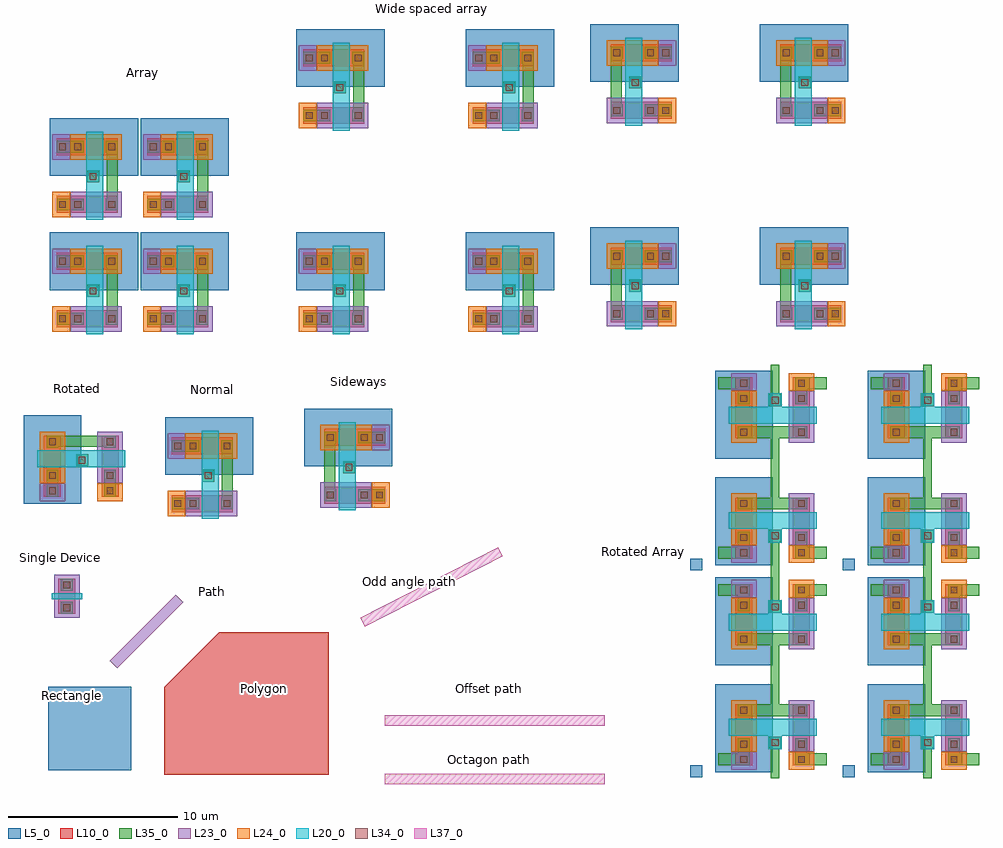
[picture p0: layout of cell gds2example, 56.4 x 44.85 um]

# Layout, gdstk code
from math import pi, radians
import gdstk
lib = gdstk.Library(unit=1e-6, precision=1e-09)
def R(c, l, rs):  # rectangles x0, y0, x1, y1
    for r in rs: c.add(gdstk.rectangle(r[:2], r[2:], *l))
def P(c, l, *ps):  # polygons
    for p in ps: c.add(gdstk.Polygon(p, *l))
L5_0 = (5, 0)
L10_0 = (10, 0)
L20_0 = (20, 0)
L23_0 = (23, 0)
L24_0 = (24, 0)
L34_0 = (34, 0)
L35_0 = (35, 0)
L37_0 = (37, 0)

inv = lib.new_cell('inv')
R(inv, L5_0, [(0,2.9,5.2,6.3), (0,2.9,5.2,6.3)])
R(inv, L10_0, [(1.1,0.7,1.3,1.7), (1.65,0.7,2.2,1.7), (3.1,0.7,3.65,1.7), (1.1,4.1,1.3,5.1), (1.65,4.1,2.2,5.1), (3.1,4.1,3.65,5.1)])
R(inv, L20_0, [(2.15,2.1,3.15,3.7), (2.15,2.45,2.95,3.25)])
R(inv, L23_0, [(1.2,0.45,4.25,1.95), (0.15,3.85,1.2,5.35)])
R(inv, L24_0, [(0.15,0.45,1.2,1.95), (1.2,3.85,4.25,5.35)])
R(inv, L34_0, [(0.55,1,0.95,1.4), (1.45,1,1.85,1.4), (3.45,1,3.85,1.4), (2.35,2.65,2.75,3.05), (0.55,4.4,0.95,4.8), (1.45,4.4,1.85,4.8), (3.45,4.4,3.85,4.8)])
R(inv, L35_0, [(1.1,0.85,1.3,1.55), (2.2,2.5,2.9,3.2), (1.1,4.25,1.3,4.95)])
P(inv, L35_0, [(4,4.95),(3.3,4.95),(3.3,4.25),(3.35,4.25),(3.35,1.55),(3.3,1.55),(3.3,0.85),(4,0.85)])
inv.add(gdstk.FlexPath([(2.65,1.7),(2.65,0.7)], 1, ends="flush", simple_path=True, layer=10, datatype=0))  # L10_0
inv.add(gdstk.FlexPath([(1.65,1.7),(1.65,0.7)], 0.7, ends="flush", simple_path=True, layer=10, datatype=0))  # L10_0
inv.add(gdstk.FlexPath([(3.65,1.7),(3.65,0.7)], 0.7, ends="flush", simple_path=True, layer=10, datatype=0))  # L10_0
inv.add(gdstk.FlexPath([(0.75,1.7),(0.75,0.7)], 0.7, ends="flush", simple_path=True, layer=10, datatype=0))  # L10_0
inv.add(gdstk.FlexPath([(2.65,5.1),(2.65,4.1)], 1, ends="flush", simple_path=True, layer=10, datatype=0))  # L10_0
inv.add(gdstk.FlexPath([(1.65,5.1),(1.65,4.1)], 0.7, ends="flush", simple_path=True, layer=10, datatype=0))  # L10_0
inv.add(gdstk.FlexPath([(3.65,5.1),(3.65,4.1)], 0.7, ends="flush", simple_path=True, layer=10, datatype=0))  # L10_0
inv.add(gdstk.FlexPath([(0.75,5.1),(0.75,4.1)], 0.7, ends="flush", simple_path=True, layer=10, datatype=0))  # L10_0
inv.add(gdstk.FlexPath([(2.65,1.7),(2.65,0.7)], 1, ends="flush", simple_path=True, layer=20, datatype=0))  # L20_0
inv.add(gdstk.FlexPath([(2.65,2.1),(2.65,1.7)], 1, ends="flush", simple_path=True, layer=20, datatype=0))  # L20_0
inv.add(gdstk.FlexPath([(2.65,0.7),(2.65,0.3)], 1, ends="flush", simple_path=True, layer=20, datatype=0))  # L20_0
inv.add(gdstk.FlexPath([(2.65,5.1),(2.65,4.1)], 1, ends="flush", simple_path=True, layer=20, datatype=0))  # L20_0
inv.add(gdstk.FlexPath([(2.65,5.5),(2.65,5.1)], 1, ends="flush", simple_path=True, layer=20, datatype=0))  # L20_0
inv.add(gdstk.FlexPath([(2.65,4.1),(2.65,3.7)], 1, ends="flush", simple_path=True, layer=20, datatype=0))  # L20_0
inv.add(gdstk.FlexPath([(1.65,1.55),(1.65,0.85)], 0.7, ends="flush", simple_path=True, layer=35, datatype=0))  # L35_0
inv.add(gdstk.FlexPath([(3.65,1.55),(3.65,0.85)], 0.7, ends="flush", simple_path=True, layer=35, datatype=0))  # L35_0
inv.add(gdstk.FlexPath([(0.75,1.55),(0.75,0.85)], 0.7, ends="flush", simple_path=True, layer=35, datatype=0))  # L35_0
inv.add(gdstk.FlexPath([(1.65,4.95),(1.65,4.25)], 0.7, ends="flush", simple_path=True, layer=35, datatype=0))  # L35_0
inv.add(gdstk.FlexPath([(3.65,4.95),(3.65,4.25)], 0.7, ends="flush", simple_path=True, layer=35, datatype=0))  # L35_0
inv.add(gdstk.FlexPath([(0.75,4.95),(0.75,4.25)], 0.7, ends="flush", simple_path=True, layer=35, datatype=0))  # L35_0

big_inverter = lib.new_cell('big_inverter')
R(big_inverter, L5_0, [(0.35,3.2,5.55,6.6), (0.35,3.2,5.55,6.6)])
R(big_inverter, L10_0, [(1.45,1,1.65,2), (2,1,2.55,2), (3.45,1,4,2), (1.45,4.4,1.65,5.4), (2,4.4,2.55,5.4), (3.45,4.4,4,5.4)])
R(big_inverter, L20_0, [(2.5,2.4,3.5,4), (1.7,2.65,2.5,3.45)])
R(big_inverter, L23_0, [(1.55,0.75,4.6,2.25), (0.5,4.15,1.55,5.65)])
R(big_inverter, L24_0, [(0.5,0.75,1.55,2.25), (1.55,4.15,4.6,5.65)])
R(big_inverter, L34_0, [(0.9,1.3,1.3,1.7), (1.8,1.3,2.2,1.7), (3.8,1.3,4.2,1.7), (1.9,2.85,2.3,3.25), (0.9,4.7,1.3,5.1), (1.8,4.7,2.2,5.1), (3.8,4.7,4.2,5.1)])
R(big_inverter, L35_0, [(0.75,0,1.45,1.15), (1.45,1.15,1.65,1.85), (3.65,1.15,4.35,4.55), (1.75,2.7,2.45,3.4), (0,2.8,1.75,3.3), (4.35,2.8,6.1,3.3), (0.75,4.55,1.45,6.4), (1.45,4.55,1.65,5.25)])
big_inverter.add(gdstk.FlexPath([(3,2),(3,1)], 1, ends="flush", simple_path=True, layer=10, datatype=0))  # L10_0
big_inverter.add(gdstk.FlexPath([(2,2),(2,1)], 0.7, ends="flush", simple_path=True, layer=10, datatype=0))  # L10_0
big_inverter.add(gdstk.FlexPath([(4,2),(4,1)], 0.7, ends="flush", simple_path=True, layer=10, datatype=0))  # L10_0
big_inverter.add(gdstk.FlexPath([(1.1,2),(1.1,1)], 0.7, ends="flush", simple_path=True, layer=10, datatype=0))  # L10_0
big_inverter.add(gdstk.FlexPath([(3,5.4),(3,4.4)], 1, ends="flush", simple_path=True, layer=10, datatype=0))  # L10_0
big_inverter.add(gdstk.FlexPath([(2,5.4),(2,4.4)], 0.7, ends="flush", simple_path=True, layer=10, datatype=0))  # L10_0
big_inverter.add(gdstk.FlexPath([(4,5.4),(4,4.4)], 0.7, ends="flush", simple_path=True, layer=10, datatype=0))  # L10_0
big_inverter.add(gdstk.FlexPath([(1.1,5.4),(1.1,4.4)], 0.7, ends="flush", simple_path=True, layer=10, datatype=0))  # L10_0
big_inverter.add(gdstk.FlexPath([(3,2),(3,1)], 1, ends="flush", simple_path=True, layer=20, datatype=0))  # L20_0
big_inverter.add(gdstk.FlexPath([(3,2.4),(3,2)], 1, ends="flush", simple_path=True, layer=20, datatype=0))  # L20_0
big_inverter.add(gdstk.FlexPath([(3,1),(3,0.6)], 1, ends="flush", simple_path=True, layer=20, datatype=0))  # L20_0
big_inverter.add(gdstk.FlexPath([(3,5.4),(3,4.4)], 1, ends="flush", simple_path=True, layer=20, datatype=0))  # L20_0
big_inverter.add(gdstk.FlexPath([(3,5.8),(3,5.4)], 1, ends="flush", simple_path=True, layer=20, datatype=0))  # L20_0
big_inverter.add(gdstk.FlexPath([(3,4.4),(3,4)], 1, ends="flush", simple_path=True, layer=20, datatype=0))  # L20_0
big_inverter.add(gdstk.FlexPath([(2,1.85),(2,1.15)], 0.7, ends="flush", simple_path=True, layer=35, datatype=0))  # L35_0
big_inverter.add(gdstk.FlexPath([(4,1.85),(4,1.15)], 0.7, ends="flush", simple_path=True, layer=35, datatype=0))  # L35_0
big_inverter.add(gdstk.FlexPath([(1.1,1.85),(1.1,1.15)], 0.7, ends="flush", simple_path=True, layer=35, datatype=0))  # L35_0
big_inverter.add(gdstk.FlexPath([(2,5.25),(2,4.55)], 0.7, ends="flush", simple_path=True, layer=35, datatype=0))  # L35_0
big_inverter.add(gdstk.FlexPath([(4,5.25),(4,4.55)], 0.7, ends="flush", simple_path=True, layer=35, datatype=0))  # L35_0
big_inverter.add(gdstk.FlexPath([(1.1,5.25),(1.1,4.55)], 0.7, ends="flush", simple_path=True, layer=35, datatype=0))  # L35_0

mirror = lib.new_cell('mirror')
R(mirror, L5_0, [(0.9,8.4,1.6,9.1)])
mirror.add(gdstk.Reference(big_inverter, (13.05,1.05), rotation=pi, x_reflection=True))
mirror.add(gdstk.Reference(big_inverter, (0.85,1.05)))
mirror.add(gdstk.Label('mirrored', (6.7,9.55), layer=61, texttype=0))

gds2example = lib.new_cell('gds2example')
R(gds2example, L5_0, [(4.5,1.7,9.4,6.65)])
R(gds2example, L10_0, [(5.1,11.3,6.1,11.85), (5.1,12.1,6.1,12.65)])
P(gds2example, L10_0, [(11.35,6.6),(14.6,9.85),(21.05,9.85),(21.05,1.45),(11.35,1.45)])
R(gds2example, L23_0, [(4.85,10.7,6.35,13.25)])
R(gds2example, L34_0, [(5.4,11.1,5.8,11.5), (5.4,12.45,5.8,12.85)])
gds2example.add(gdstk.FlexPath([(5.1,11.975),(6.1,11.975)], 0.35, ends="flush", simple_path=True, layer=20, datatype=0))  # L20_0
gds2example.add(gdstk.FlexPath([(4.7,11.975),(5.1,11.975)], 0.35, ends="flush", simple_path=True, layer=20, datatype=0))  # L20_0
gds2example.add(gdstk.FlexPath([(6.1,11.975),(6.5,11.975)], 0.35, ends="flush", simple_path=True, layer=20, datatype=0))  # L20_0
gds2example.add(gdstk.FlexPath([(5.25,11.3),(5.95,11.3)], 0.7, ends="flush", simple_path=True, layer=35, datatype=0))  # L35_0
gds2example.add(gdstk.FlexPath([(5.25,12.65),(5.95,12.65)], 0.7, ends="flush", simple_path=True, layer=35, datatype=0))  # L35_0
gds2example.add(gdstk.FlexPath([(24.65,1.2),(37.05,1.2)], 0.6, ends="round", simple_path=True, layer=37, datatype=0))  # L37_0
gds2example.add(gdstk.FlexPath([(24.65,4.65),(37.05,4.65)], 0.6, ends="extended", simple_path=True, layer=37, datatype=0))  # L37_0
gds2example.add(gdstk.FlexPath([(23.05,10.45),(31.2,14.6)], 0.6, ends="flush", simple_path=True, layer=37, datatype=0))  # L37_0
gds2example.add(gdstk.FlexPath([(5.1,11.975),(6.1,11.975)], 0.35, ends="flush", simple_path=True, layer=10, datatype=0))  # L10_0
gds2example.add(gdstk.FlexPath([(5.1,11.3),(6.1,11.3)], 0.7, ends="flush", simple_path=True, layer=10, datatype=0))  # L10_0
gds2example.add(gdstk.FlexPath([(5.1,12.65),(6.1,12.65)], 0.7, ends="flush", simple_path=True, layer=10, datatype=0))  # L10_0
gds2example.add(gdstk.FlexPath([(8.35,7.95),(12.25,11.85)], 0.6, ends="flush", simple_path=True, layer=23, datatype=0))  # L23_0
gds2example.add(gdstk.Reference(inv, (9.35,17.45), rotation=pi/2))
gds2example.add(gdstk.Reference(inv, (24.8,16.75), rotation=pi, x_reflection=True))
gds2example.add(gdstk.Reference(inv, (11.4,16.25)))
r = gdstk.Reference(mirror, (60.501,0.4), rotation=pi/2); r.repetition = gdstk.Repetition(2, 2, v1=(0,12.2), v2=(-9.001,0)); gds2example.add(r)
r = gdstk.Reference(inv, (51.7,27.45), rotation=pi, x_reflection=True); r.repetition = gdstk.Repetition(2, 2, v1=(-10,0), v2=(0,12)); gds2example.add(r)
r = gdstk.Reference(inv, (19.15,27.15)); r.repetition = gdstk.Repetition(2, 2, v1=(10,0), v2=(0,12)); gds2example.add(r)
r = gdstk.Reference(inv, (4.6,27.15)); r.repetition = gdstk.Repetition(2, 2, v1=(5.35,0), v2=(0,6.75)); gds2example.add(r)
gds2example.add(gdstk.Label('Octagon path', (30.55,2.35), layer=61, texttype=0))
gds2example.add(gdstk.Label('Offset path', (30.55,6.55), layer=61, texttype=0))
gds2example.add(gdstk.Label('Rotated Array', (39.65,14.6), layer=61, texttype=0))
gds2example.add(gdstk.Label('Sideways array', (45.05,47.8), layer=61, texttype=0))
gds2example.add(gdstk.Label('Wide spaced array', (27.1,46.8), layer=61, texttype=0))
gds2example.add(gdstk.Label('Array', (10.05,42.9), layer=61, texttype=0))
gds2example.add(gdstk.Label('Odd angle path', (25.8,12.85), layer=61, texttype=0))
gds2example.add(gdstk.Label('Rectangle', (5.85,6.15), layer=61, texttype=0))
gds2example.add(gdstk.Label('Polygon', (17.25,6.55), layer=61, texttype=0))
gds2example.add(gdstk.Label('Path', (14.2,12.25), layer=61, texttype=0))
gds2example.add(gdstk.Label('Single Device', (5.25,14.25), layer=61, texttype=0))
gds2example.add(gdstk.Label('Rotated', (6.25,24.25), layer=61, texttype=0))
gds2example.add(gdstk.Label('Sideways', (22.8,24.65), layer=61, texttype=0))
gds2example.add(gdstk.Label('Normal', (14.2,24.2), layer=61, texttype=0))

lib.write_gds('gds2example.gds')
